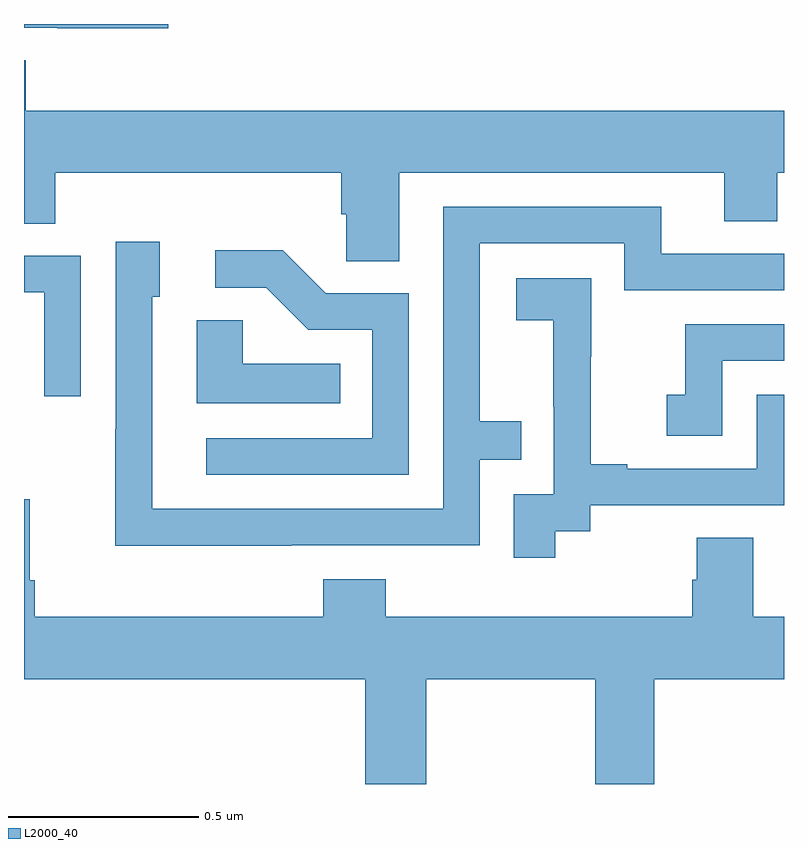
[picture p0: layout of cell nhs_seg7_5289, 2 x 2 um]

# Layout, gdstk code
import gdstk
lib = gdstk.Library(unit=1e-6, precision=1e-09)
def P(c, l, *ps):  # polygons
    for p in ps: c.add(gdstk.Polygon(p, *l))
L2000_40 = (2000, 40)

nhs_seg7_5289 = lib.new_cell('nhs_seg7_5289')
P(nhs_seg7_5289, L2000_40, [(184.379,1009),(184,1009),(184,1008.99),(184.087,1008.99),(184.087,1008.989),(184.379,1008.989)],
  [(184.987,1008.608),(185.843,1008.608),(185.843,1008.481),(185.982,1008.481),(185.982,1008.608),(186,1008.608),(186,1008.772),(184.004,1008.772),(184.004,1008.905),(184,1008.905),(184,1008.475),(184.082,1008.475),(184.082,1008.608),(184.835,1008.608),(184.835,1008.499),(184.848,1008.499),(184.848,1008.376),(184.987,1008.376)],
  [(184.703,1007.628),(185.199,1007.628),(185.199,1007.853),(185.309,1007.853),(185.309,1007.954),(185.199,1007.954),(185.199,1008.423),(185.58,1008.423),(185.58,1008.3),(186,1008.3),(186,1008.396),(185.677,1008.396),(185.677,1008.519),(185.103,1008.519),(185.103,1007.724),(184.338,1007.724),(184.338,1008.282),(184.357,1008.282),(184.357,1008.427),(184.242,1008.427),(184.242,1007.933),(184.24,1007.933),(184.24,1007.627),(184.703,1007.627)],
  [(185.013,1008.291),(184.794,1008.291),(184.681,1008.404),(184.503,1008.404),(184.503,1008.306),(184.637,1008.306),(184.748,1008.195),(184.917,1008.195),(184.917,1007.91),(184.479,1007.91),(184.479,1007.814),(185.013,1007.814)],
  [(184.149,1008.39),(184,1008.39),(184,1008.294),(184.053,1008.294),(184.053,1008.021),(184.149,1008.021)],
  [(185.398,1007.665),(185.49,1007.665),(185.49,1007.733),(186,1007.733),(186,1008.024),(185.928,1008.024),(185.928,1007.829),(185.587,1007.829),(185.587,1007.842),(185.492,1007.842),(185.492,1008.125),(185.493,1008.125),(185.493,1008.331),(185.295,1008.331),(185.295,1008.221),(185.393,1008.221),(185.393,1007.993),(185.394,1007.993),(185.394,1007.763),(185.289,1007.763),(185.289,1007.595),(185.398,1007.595)],
  [(184.832,1008.106),(184.575,1008.106),(184.575,1008.221),(184.454,1008.221),(184.454,1008.002),(184.832,1008.002)],
  [(185.838,1008.114),(186,1008.114),(186,1008.21),(185.74,1008.21),(185.74,1008.025),(185.691,1008.025),(185.691,1007.916),(185.838,1007.916)],
  [(185.058,1007.276),(185.503,1007.276),(185.503,1007),(185.658,1007),(185.658,1007.276),(186,1007.276),(186,1007.44),(185.919,1007.44),(185.919,1007.648),(185.771,1007.648),(185.771,1007.538),(185.759,1007.538),(185.759,1007.44),(184.952,1007.44),(184.952,1007.539),(184.787,1007.539),(184.787,1007.44),(184.028,1007.44),(184.028,1007.536),(184.015,1007.536),(184.015,1007.749),(184,1007.749),(184,1007.276),(184.898,1007.276),(184.898,1007),(185.058,1007)])

lib.write_gds('nhs_seg7_5289.gds')
